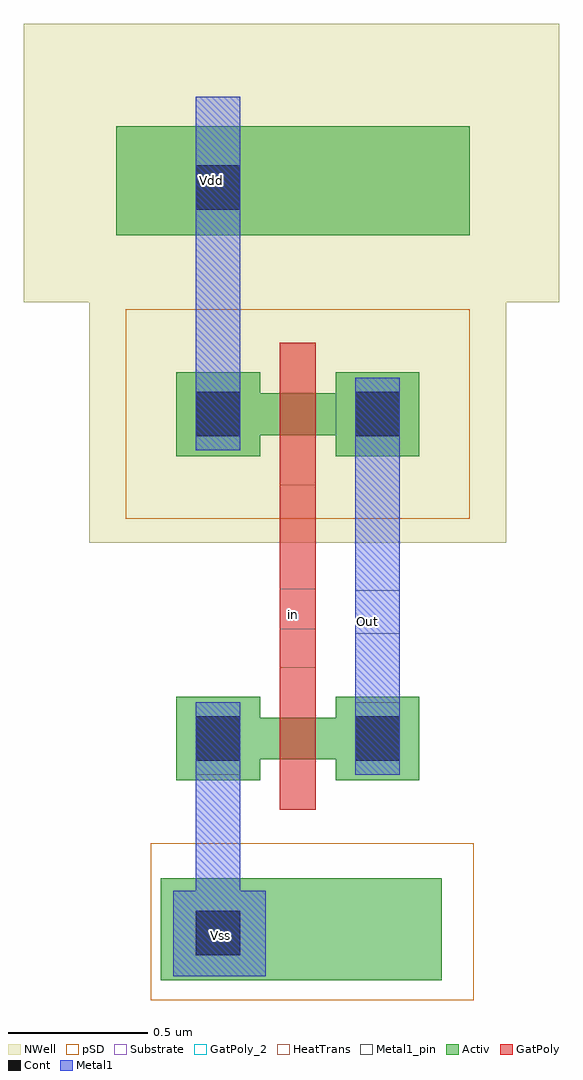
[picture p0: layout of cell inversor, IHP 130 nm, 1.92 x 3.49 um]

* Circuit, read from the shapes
.subckt inversor Out Vdd Vss in
XM1 Out in Vss Vss sg13_lv_nmos w=0.15u l=0.13u
XM2 Out in Vdd Vdd sg13_lv_pmos w=0.15u l=0.13u
.ends

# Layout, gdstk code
import gdstk
lib = gdstk.Library(unit=1e-6, precision=5e-09)
def R(c, l, rs):  # rectangles x0, y0, x1, y1
    for r in rs: c.add(gdstk.rectangle(r[:2], r[2:], *l))
Activ = (1, 0)
GatPoly = (5, 0)
GatPoly_2 = (5, 2)
Cont = (6, 0)
Metal1 = (8, 0)
Metal1_pin = (8, 2)
pSD = (14, 0)
NWell = (31, 0)
Substrate = (40, 0)
HeatTrans = (51, 0)

pmos = lib.new_cell('pmos')
R(pmos, Activ, [(0,0,0.3,0.3), (0.57,0,0.87,0.3), (0,0.075,0.87,0.225)])
R(pmos, GatPoly, [(0.37,-0.105,0.5,0.405), (0.37,-0.105,0.5,0.405)])
R(pmos, Cont, [(0.07,0.07,0.23,0.23), (0.64,0.07,0.8,0.23)])
R(pmos, Metal1, [(0.07,0.02,0.23,0.28), (0.07,0.02,0.23,0.28), (0.64,0.02,0.8,0.28), (0.64,0.02,0.8,0.28)])
R(pmos, pSD, [(-0.18,-0.225,1.05,0.525)])
R(pmos, NWell, [(-0.31,-0.31,1.18,0.61)])
R(pmos, Substrate, [(0.57,0,0.87,0.3)])
R(pmos, HeatTrans, [(0.37,-0.105,0.5,0.405)])
pmos.add(gdstk.Label('pmos', (0.435,0.15), layer=63, texttype=0))
pmos.add(gdstk.Label('pmos', (0.435,0.15), layer=51, texttype=0))

nmos = lib.new_cell('nmos')
R(nmos, Activ, [(0,0,0.3,0.3), (0.57,0,0.87,0.3), (0,0.075,0.87,0.225)])
R(nmos, GatPoly, [(0.37,-0.105,0.5,0.405)])
R(nmos, GatPoly_2, [(0.37,-0.105,0.5,0.405)])
R(nmos, Cont, [(0.07,0.07,0.23,0.23), (0.64,0.07,0.8,0.23)])
R(nmos, Metal1, [(0.07,0.02,0.23,0.28), (0.64,0.02,0.8,0.28)])
R(nmos, Metal1_pin, [(0.07,0.02,0.23,0.28), (0.64,0.02,0.8,0.28)])
R(nmos, HeatTrans, [(0.37,-0.105,0.5,0.405)])
nmos.add(gdstk.Label('nmos', (0.435,0.15), layer=63, texttype=0))
nmos.add(gdstk.Label('nmos', (0.435,0.15), layer=51, texttype=0))

inversor = lib.new_cell('inversor')
R(inversor, Activ, [(0.69,-0.325,1.695,0.04), (0.53,2.34,1.795,2.73)])
R(inversor, GatPoly, [(1.115,0.69,1.245,1.53)])
R(inversor, GatPoly_2, [(1.115,0.93,1.245,1.075)])
R(inversor, Cont, [(0.815,-0.235,0.975,-0.075), (0.815,2.43,0.975,2.59)])
R(inversor, Metal1, [(0.735,-0.31,1.065,-0.005), (0.815,-0.28,0.975,0.54), (1.385,0.54,1.545,1.735), (0.815,1.7,0.975,2.835)])
R(inversor, Metal1_pin, [(0.815,-0.235,0.975,-0.075), (1.385,0.915,1.545,1.07), (0.815,2.43,0.975,2.59)])
R(inversor, pSD, [(0.655,-0.395,1.81,0.165)])
R(inversor, NWell, [(0.2,2.1,2.115,3.095)])
inversor.add(gdstk.Reference(pmos, (0.745,1.55)))
inversor.add(gdstk.Reference(nmos, (0.745,0.39)))
inversor.add(gdstk.Label('Out', (1.43,0.96), layer=8, texttype=2))
inversor.add(gdstk.Label('Vss', (0.905,-0.165), layer=8, texttype=2))
inversor.add(gdstk.Label('Vdd', (0.87,2.535), layer=8, texttype=2))
inversor.add(gdstk.Label('in', (1.165,0.985), layer=5, texttype=2))

lib.write_gds('inversor.gds')
